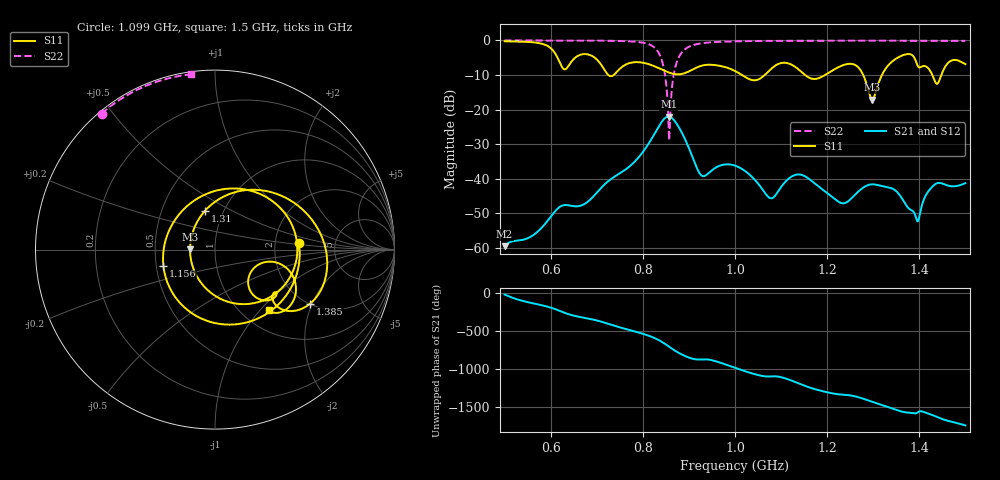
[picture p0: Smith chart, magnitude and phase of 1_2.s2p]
! TOUCHSTONE file generated by CST MICROWAVE STUDIO
! Date and time: Thu Feb 11 19:30:47 2021
! Project name: Scenario_1_Planar_Body_Tissue_Out_of_Line.cst
! Parameters = {L_HA=400; Ltissue=1000; MT=2.54; Rad_Dielectric=30; Rad_Lower=7.3; Rad_Upper=30; Wtissue=1000; a_HA=580; a_WG=246; b_HA=500; b_WG=121; c_HA=0; c_WG=187; d_feed=85; dx1=346; dy1=-346; h_feed=15; h_lower=18; h_upper=40; hfat=3; hgap=25; hmuscle=50; hskin=1.5}
! Header version: 2018
! Port assignment regex: !\s*Touchstone port\s*([0-9]+)\s*=\s*(CST MWS port|CST DS port)\s*([0-9]+|Zmin|Zmax)\s*\(\"(.*)\"\)(\s*mode\s*([0-9]+))?.*
! Touchstone port assignment:
! Touchstone port 1 = CST MWS port 1 ("")
! Touchstone port 2 = CST MWS port 2 ("")
# GHz S DB R 50
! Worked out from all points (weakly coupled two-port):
!   1003 points, 500 MHz to 1.5 GHz, reference 50 ohm
!   highest |S21| = -22.04 dB at 856 MHz (marker M1); lowest = -59.6 dB at 500 MHz (marker M2)
!   lowest |S11| = -17.1 dB at 1.298 GHz (marker M3), VSWR 1.32, Z = 37.8 + j0.204 ohm
!   |S11| at or under -10 dB: 1.015 GHz to 1.065 GHz (49.62 MHz wide, 4.77 % of centre); 1.152 GHz to 1.196 GHz (43.63 MHz wide, 3.72 % of centre); 1.278 GHz to 1.319 GHz (40.7 MHz wide, 3.13 % of centre)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
!   |S22| runs from -28.9 to 0.0 dB; largest |S21 - S12| = 1.5e-05
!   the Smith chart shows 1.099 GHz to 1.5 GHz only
!   S11 on the Smith chart (normalised r, x): 1.099 GHz: 2.74, +0.24; 1.156 GHz: 0.55, -0.11; 1.31 GHz: 0.82, +0.37; 1.385 GHz: 2.00, -1.93; 1.5 GHz: 1.32, -1.13
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0.5  -0.25 -121.7  -59.56 -15.2  -59.56 -15.2  -0.01 151.1
0.667  -4.06 158.4  -47.75 45.5  -47.75 45.5  -0.04 138.4
0.718  -8.76 27.8  -41.55 -27.2  -41.55 -27.2  -0.09 132.6
0.743  -9.18 -99.3  -39.08 -74.5  -39.08 -74.5  -0.14 128.7
0.772  -6.52 175.0  -36.38 -123.7  -36.38 -123.7  -0.28 122.5
0.834  -7.99 37.4  -25.04 107.3  -25.04 107.3  -3.48 82.4
0.856  -9.27 -20.9  -22.04 22.1  -22.04 22.1  -25.24 4.0
0.875  -9.81 -76.6  -24.45 -53.1  -24.45 -53.1  -5.79 -166.0
0.908  -8.43 179.9  -33.81 -139.6  -33.82 -139.6  -1.41 163.4
0.939  -7.06 84.2  -38.84 -148.4  -38.84 -148.4  -0.65 151.6
1  -8.84 -64.7  -36.24 101.4  -36.24 101.4  -0.27 140.2
1.047  -11.46 164.4  -40.95 10.0  -40.95 10.0  -0.17 134.7
1.099  -6.59 4.2  -42.65 -21.3  -42.65 -21.3  -0.12 129.8
1.126  -7.25 -73.2  -39.18 -74.8  -39.18 -74.8  -0.11 127.5
1.156  -10.40 -162.0  -39.66 -146.0  -39.66 -146.0  -0.10 125.1
1.167  -11.09 166.1  -40.74 -168.3  -40.74 -168.3  -0.09 124.2
1.248  -6.77 3.4  -46.30 99.4  -46.30 99.4  -0.09 118.0
1.298  -17.14 178.9  -41.66 11.9  -41.66 11.9  -0.08 114.3
1.31  -13.00 104.2  -41.87 -13.2  -41.88 -13.2  -0.08 113.3
1.334  -7.00 45.8  -42.56 -59.2  -42.56 -59.2  -0.09 111.5
1.385  -4.31 -29.8  -49.30 -133.1  -49.30 -132.9  -0.09 107.6
1.5  -6.86 -48.2  -41.33 62.1  -41.33 62.1  -0.13 97.9
